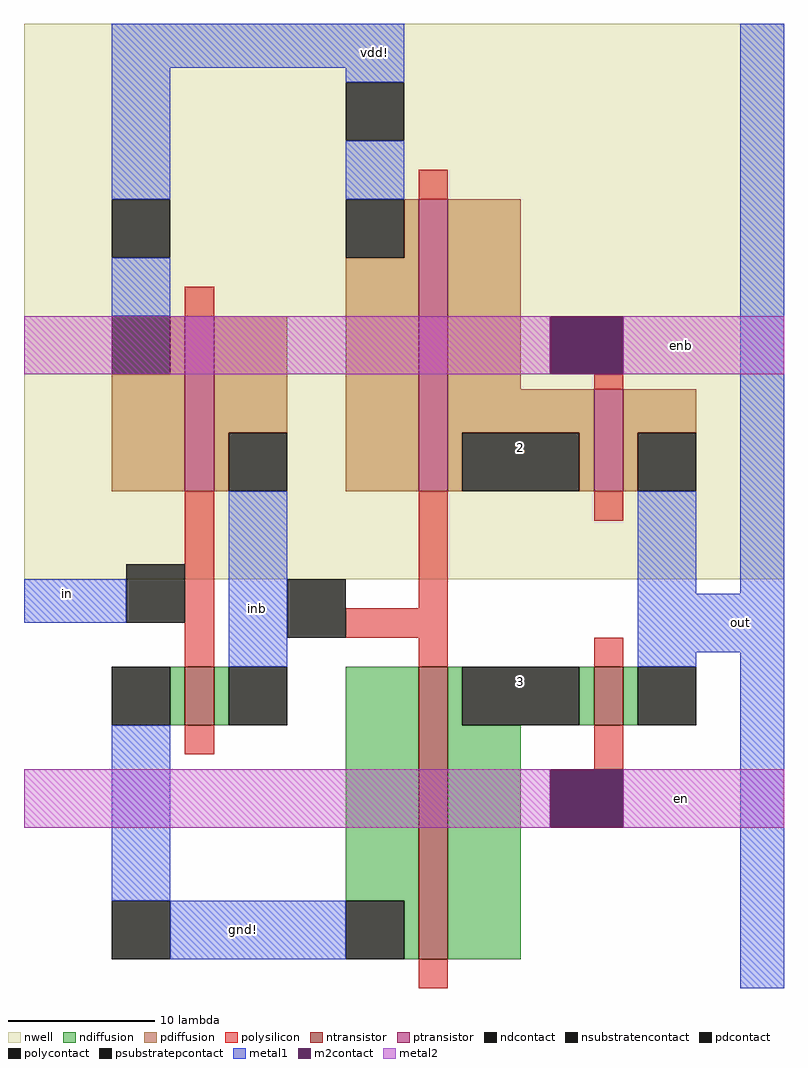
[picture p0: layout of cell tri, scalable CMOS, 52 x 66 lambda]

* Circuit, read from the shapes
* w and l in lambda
.subckt tri 2 3 en enb gnd! in inb out vdd!
M1 inb in gnd! gnd! nfet w=4 l=2
M2 3 inb gnd! gnd! nfet w=20 l=2
M3 out en 3 gnd! nfet w=4 l=2
M4 inb in vdd! vdd! pfet w=12 l=2
M5 2 inb vdd! vdd! pfet w=20 l=2
M6 out enb 2 vdd! pfet w=7 l=2
.ends

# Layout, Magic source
magic
tech scmos
<< nwell >>
rect -1053 13 -1001 51
<< ntransistor >>
rect -1042 3 -1040 7
rect -1026 -13 -1024 7
rect -1014 3 -1012 7
<< ptransistor >>
rect -1042 19 -1040 31
rect -1026 19 -1024 39
rect -1014 19 -1012 26
<< ndiffusion >>
rect -1043 3 -1042 7
rect -1040 3 -1039 7
rect -1031 -9 -1026 7
rect -1027 -13 -1026 -9
rect -1024 3 -1023 7
rect -1015 3 -1014 7
rect -1012 3 -1011 7
rect -1024 -13 -1019 3
<< pdiffusion >>
rect -1027 35 -1026 39
rect -1043 27 -1042 31
rect -1047 19 -1042 27
rect -1040 23 -1035 31
rect -1040 19 -1039 23
rect -1031 19 -1026 35
rect -1024 26 -1019 39
rect -1024 23 -1014 26
rect -1024 19 -1023 23
rect -1015 19 -1014 23
rect -1012 23 -1007 26
rect -1012 19 -1011 23
<< ndcontact >>
rect -1047 3 -1043 7
rect -1039 3 -1035 7
rect -1031 -13 -1027 -9
rect -1023 3 -1015 7
rect -1011 3 -1007 7
<< pdcontact >>
rect -1031 35 -1027 39
rect -1047 27 -1043 31
rect -1039 19 -1035 23
rect -1023 19 -1015 23
rect -1011 19 -1007 23
<< psubstratepcontact >>
rect -1047 -13 -1043 -9
<< nsubstratencontact >>
rect -1031 43 -1027 47
rect -1047 35 -1043 39
<< polysilicon >>
rect -1026 39 -1024 41
rect -1042 31 -1040 33
rect -1014 26 -1012 27
rect -1042 7 -1040 19
rect -1026 11 -1024 19
rect -1014 17 -1012 19
rect -1031 9 -1024 11
rect -1026 7 -1024 9
rect -1014 7 -1012 9
rect -1042 1 -1040 3
rect -1014 0 -1012 3
rect -1026 -15 -1024 -13
<< polycontact >>
rect -1017 27 -1012 31
rect -1046 10 -1042 14
rect -1035 9 -1031 13
rect -1017 -4 -1012 0
<< metal1 >>
rect -1047 48 -1027 51
rect -1047 39 -1043 48
rect -1031 47 -1027 48
rect -1031 39 -1027 43
rect -1047 31 -1043 35
rect -1053 10 -1046 13
rect -1039 7 -1035 19
rect -1011 12 -1007 19
rect -1004 12 -1001 51
rect -1011 8 -1001 12
rect -1011 7 -1007 8
rect -1047 -9 -1043 3
rect -1043 -13 -1031 -9
rect -1004 -15 -1001 8
<< m2contact >>
rect -1017 27 -1012 31
rect -1017 -4 -1012 0
<< metal2 >>
rect -1053 27 -1017 31
rect -1012 27 -1001 31
rect -1053 -4 -1017 0
rect -1012 -4 -1001 0
<< labels >>
rlabel metal1 -1029 49 -1029 49 5 vdd!
rlabel metal1 -1050 12 -1050 12 3 in
rlabel metal1 -1037 11 -1037 11 1 inb
rlabel pdcontact -1019 22 -1019 22 1 2
rlabel ndcontact -1019 6 -1019 6 1 3
rlabel metal1 -1004 10 -1004 10 7 out
rlabel metal2 -1008 -2 -1008 -2 1 en
rlabel metal2 -1008 29 -1008 29 1 enb
rlabel metal1 -1038 -11 -1038 -11 1 gnd!
<< end >>
